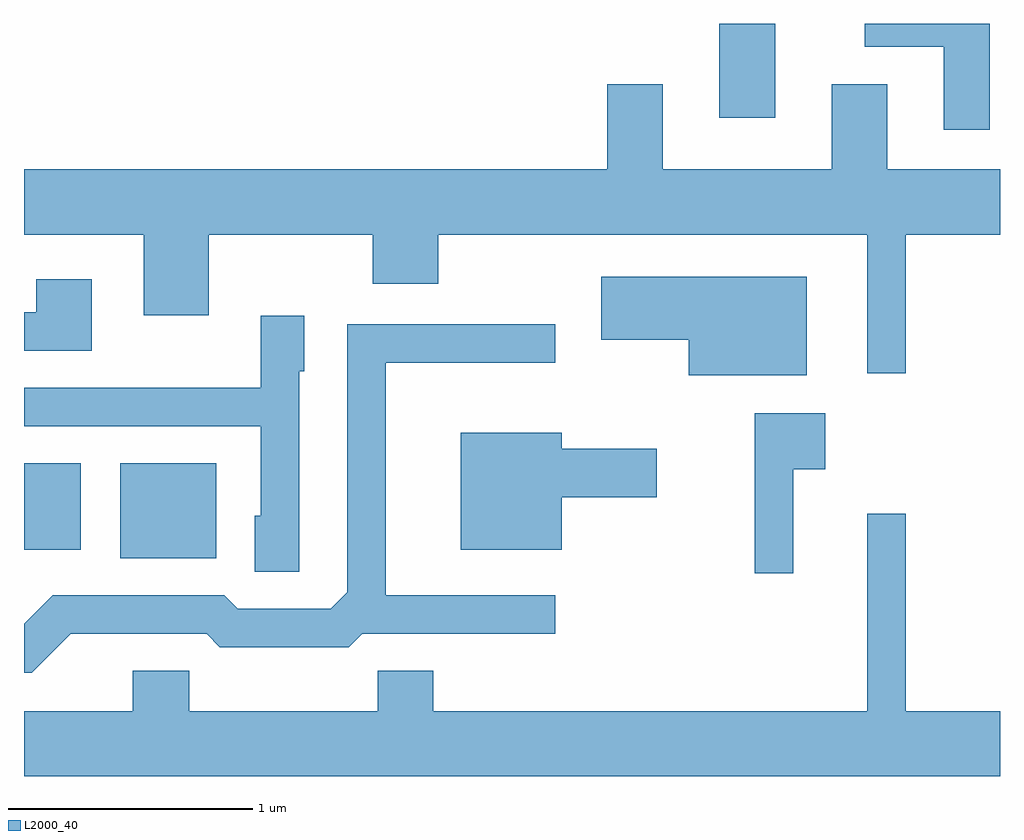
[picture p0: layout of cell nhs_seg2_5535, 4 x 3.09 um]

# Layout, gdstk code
import gdstk
lib = gdstk.Library(unit=1e-6, precision=1e-09)
def R(c, l, rs):  # rectangles x0, y0, x1, y1
    for r in rs: c.add(gdstk.rectangle(r[:2], r[2:], *l))
def P(c, l, *ps):  # polygons
    for p in ps: c.add(gdstk.Polygon(p, *l))
L2000_40 = (2000, 40)

nhs_seg2_5535 = lib.new_cell('nhs_seg2_5535')
R(nhs_seg2_5535, L2000_40, [(348.006,1093.611,348.399,1093.999), (347.611,1093.646,347.844,1093.999), (350.461,1095.416,350.689,1095.802)])
P(nhs_seg2_5535, L2000_40, [(351.569,1095.802),(351.056,1095.802),(351.056,1095.706),(351.381,1095.706),(351.381,1095.366),(351.569,1095.366)],
  [(351.224,1094.936),(351.611,1094.936),(351.611,1095.204),(351.149,1095.204),(351.149,1095.554),(350.921,1095.554),(350.921,1095.204),(350.229,1095.204),(350.229,1095.554),(350.001,1095.554),(350.001,1095.204),(347.611,1095.204),(347.611,1094.936),(348.101,1094.936),(348.101,1094.606),(348.369,1094.606),(348.369,1094.936),(349.041,1094.936),(349.041,1094.736),(349.309,1094.736),(349.309,1094.936),(351.066,1094.936),(351.066,1094.368),(351.224,1094.368)],
  [(350.819,1094.764),(349.976,1094.764),(349.976,1094.506),(350.336,1094.506),(350.336,1094.361),(350.819,1094.361)],
  [(347.889,1094.754),(347.661,1094.754),(347.661,1094.619),(347.611,1094.619),(347.611,1094.461),(347.889,1094.461)],
  [(348.739,1094.376),(348.759,1094.376),(348.759,1094.604),(348.581,1094.604),(348.581,1094.309),(347.611,1094.309),(347.611,1094.151),(348.581,1094.151),(348.581,1093.784),(348.556,1093.784),(348.556,1093.556),(348.739,1093.556)],
  [(347.802,1093.301),(348.359,1093.301),(348.414,1093.246),(348.942,1093.246),(348.997,1093.301),(349.788,1093.301),(349.788,1093.459),(349.094,1093.459),(349.094,1094.411),(349.788,1094.411),(349.788,1094.569),(348.936,1094.569),(348.936,1093.472),(348.869,1093.404),(348.487,1093.404),(348.432,1093.459),(347.729,1093.459),(347.611,1093.341),(347.611,1093.141),(347.642,1093.141)],
  [(350.764,1093.976),(350.894,1093.976),(350.894,1094.204),(350.606,1094.204),(350.606,1093.548),(350.764,1093.548)],
  [(349.814,1093.861),(350.204,1093.861),(350.204,1094.059),(349.814,1094.059),(349.814,1094.124),(349.401,1094.124),(349.401,1093.646),(349.814,1093.646)],
  [(351.611,1092.984),(351.224,1092.984),(351.224,1093.793),(351.066,1093.793),(351.066,1092.984),(349.289,1092.984),(349.289,1093.149),(349.061,1093.149),(349.061,1092.984),(348.289,1092.984),(348.289,1093.149),(348.056,1093.149),(348.056,1092.984),(347.611,1092.984),(347.611,1092.716),(351.611,1092.716)])

lib.write_gds('nhs_seg2_5535.gds')
